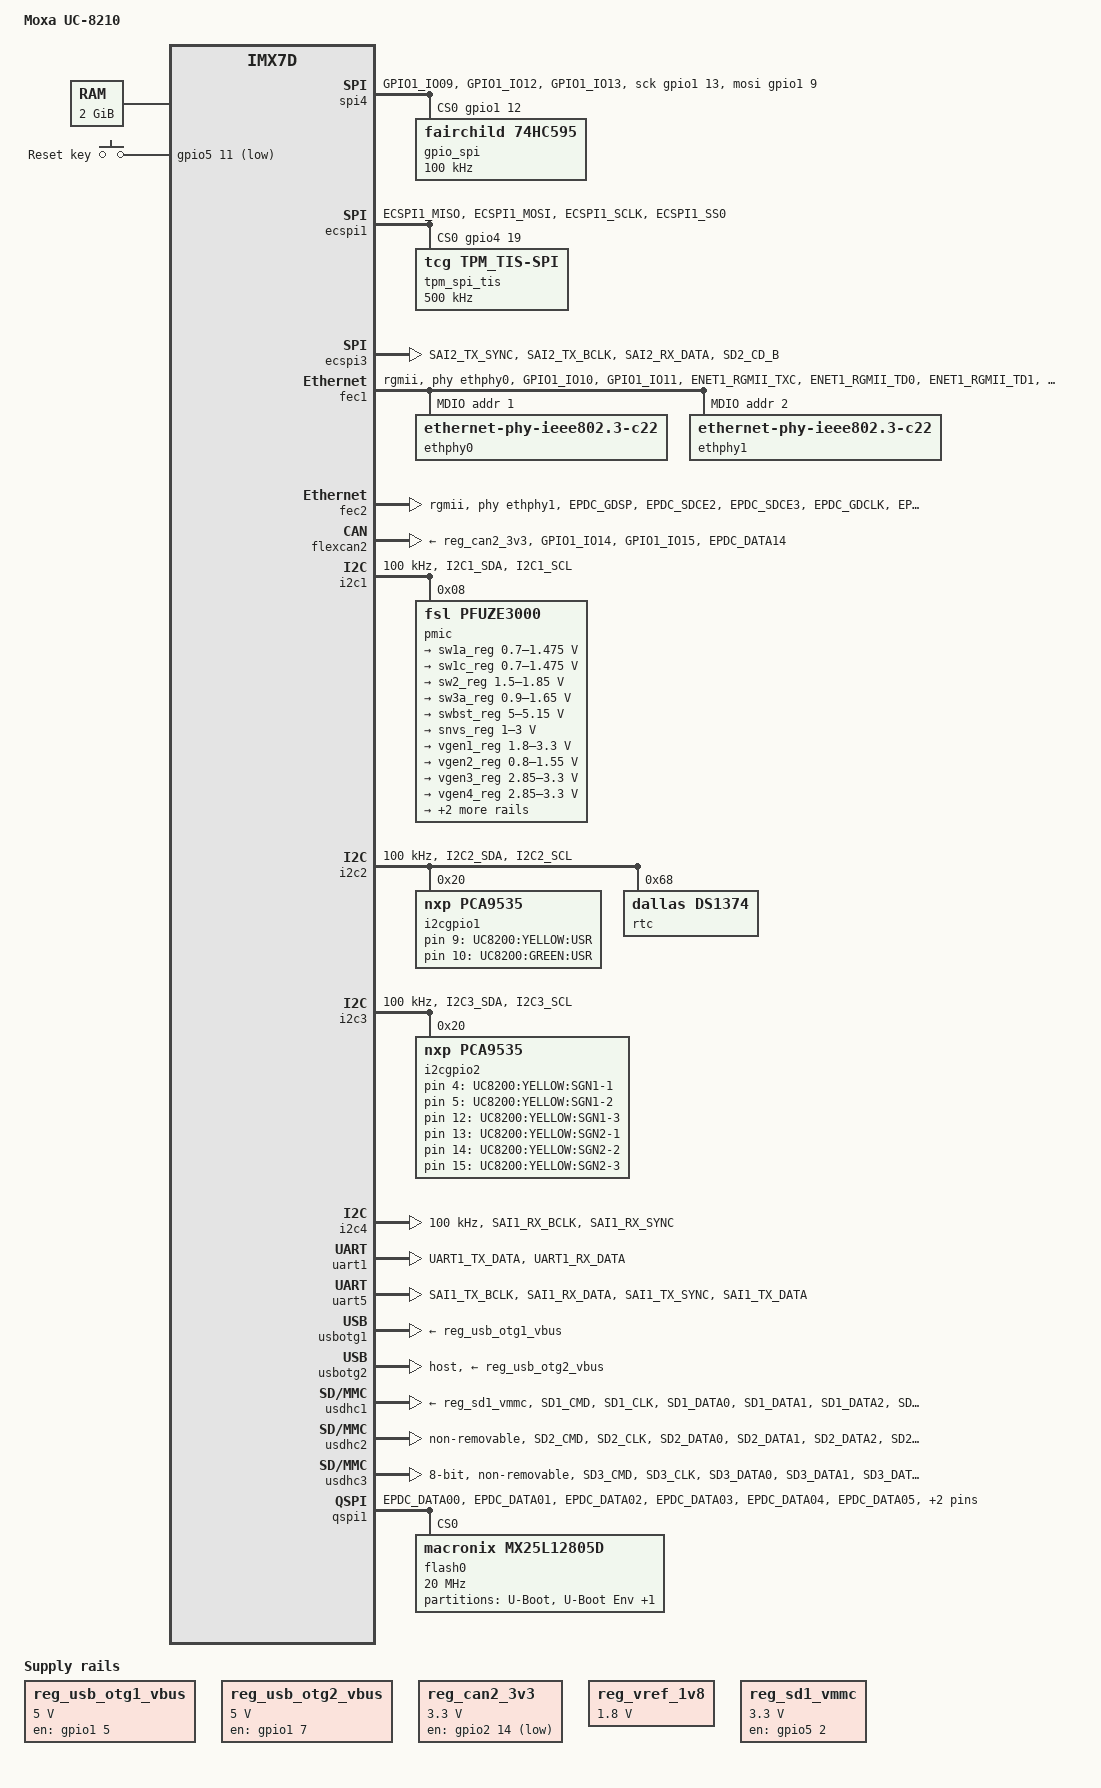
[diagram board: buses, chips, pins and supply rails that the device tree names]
// SPDX-License-Identifier: GPL-2.0
/*
 * Copyright (C) 2019 MOXA Inc. - https://www.moxa.com/
 *
 * Authors: Fero JD Zhou (周俊達) <FeroJD.Zhou@moxa.com>
 *	    Harry YJ Jhou (周亞諄) <HarryYJ.Jhou@moxa.com>
 */

/dts-v1/;
#include <dt-bindings/input/input.h>
#include "imx7d.dtsi"

/ {
	model = "Moxa UC-8210";
	compatible = "moxa,uc-8210", "fsl,imx7d-sdb", "fsl,imx7d";

	memory {
		reg = <0x80000000 0x80000000>;
	};

	regulators {
		compatible = "simple-bus";
		#address-cells = <1>;
		#size-cells = <0>;

		reg_usb_otg1_vbus: regulator@0 {
			compatible = "regulator-fixed";
			reg = <0>;
			regulator-name = "usb_otg1_vbus";
			regulator-min-microvolt = <5000000>;
			regulator-max-microvolt = <5000000>;
			gpio = <&gpio1 5 GPIO_ACTIVE_HIGH>;
			enable-active-high;
		};

		reg_usb_otg2_vbus: regulator@1 {
			compatible = "regulator-fixed";
			reg = <1>;
			regulator-name = "usb_otg2_vbus";
			regulator-min-microvolt = <5000000>;
			regulator-max-microvolt = <5000000>;
			gpio = <&gpio1 7 GPIO_ACTIVE_HIGH>;
			enable-active-high;
		};

		reg_can2_3v3: regulator@2 {
			compatible = "regulator-fixed";
			reg = <2>;
			regulator-name = "can2-3v3";
			regulator-min-microvolt = <3300000>;
			regulator-max-microvolt = <3300000>;
			gpio = <&gpio2 14 GPIO_ACTIVE_LOW>;
		};

		reg_vref_1v8: regulator@3 {
			compatible = "regulator-fixed";
			reg = <3>;
			regulator-name = "vref-1v8";
			regulator-min-microvolt = <1800000>;
			regulator-max-microvolt = <1800000>;
		};

		reg_sd1_vmmc: regulator@5 {
			compatible = "regulator-fixed";
			regulator-name = "VDD_SD1";
			regulator-min-microvolt = <3300000>;
			regulator-max-microvolt = <3300000>;
			gpio = <&gpio5 2 GPIO_ACTIVE_HIGH>;
			startup-delay-us = <200000>;
			off-on-delay = <20000>;
			enable-active-high;
		};
	};

	firmware {
		optee {
			compatible = "linaro,optee-tz";
			method = "smc";
		};
	};

	backlight {
		compatible = "pwm-backlight";
		pwms = <&pwm1 0 5000000>;
		brightness-levels = <0 4 8 16 32 64 128 255>;
		default-brightness-level = <6>;
		status = "disabled";
	};

	pxp_v4l2_out {
		compatible = "fsl,imx7d-pxp-v4l2", "fsl,imx6sx-pxp-v4l2", "fsl,imx6sl-pxp-v4l2";
		status = "disabled";
	};

	spi4 {
		compatible = "spi-gpio";
		pinctrl-names = "default";
		pinctrl-0 = <&pinctrl_spi1>;
		status = "okay";
		gpio-sck = <&gpio1 13 0>;
		gpio-mosi = <&gpio1 9 0>;
		cs-gpios = <&gpio1 12 0>;
		num-chipselects = <1>;
		#address-cells = <1>;
		#size-cells = <0>;

		gpio_spi: gpio_spi@0 {
			compatible = "fairchild,74hc595";
			gpio-controller;
			#gpio-cells = <2>;
			reg = <0>;
			registers-number = <1>;
			registers-default = /bits/ 8 <0x74>; /* Enable PERI_3V3, SENSOR_RST_B and HDMI_RST*/
			spi-max-frequency = <100000>;
		};
	};

	leds {
		compatible = "gpio-leds";
		signal_led_1_1 {
			label = "UC8200:YELLOW:SGN1-1";
			gpios = <&i2cgpio2 4 GPIO_ACTIVE_HIGH>;
			default-state = "off";
		};

		signal_led_1_2 {
			label = "UC8200:YELLOW:SGN1-2";
			gpios = <&i2cgpio2 5 GPIO_ACTIVE_HIGH>;
			default-state = "off";
		};

		signal_led_1_3 {
			label = "UC8200:YELLOW:SGN1-3";
			gpios = <&i2cgpio2 12 GPIO_ACTIVE_HIGH>;
			default-state = "off";
		};

		signal_led_2_1 {
			label = "UC8200:YELLOW:SGN2-1";
			gpios = <&i2cgpio2 13 GPIO_ACTIVE_HIGH>;
			default-state = "off";
		};

		signal_led_2_2 {
			label = "UC8200:YELLOW:SGN2-2";
			gpios = <&i2cgpio2 14 GPIO_ACTIVE_HIGH>;
			default-state = "off";
		};

		signal_led_2_3 {
			label = "UC8200:YELLOW:SGN2-3";
			gpios = <&i2cgpio2 15 GPIO_ACTIVE_HIGH>;
			default-state = "off";
		};

		user_led_1_1 {
			label = "UC8200:YELLOW:USR";
			gpios = <&i2cgpio1 9 GPIO_ACTIVE_HIGH>;
			default-state = "off";
		};
		user_led_1_2 {
			label = "UC8200:GREEN:USR";
			gpios = <&i2cgpio1 10 GPIO_ACTIVE_HIGH>;
			default-state = "off";
		};
	};

	buttons: push_button {
		compatible = "gpio-keys";

		push_button0 {
			label = "Reset key";
			gpios = <&gpio5 11 1>;
			linux,code = <0x100>;
			default-state = "on";
		};
	};
};

&cpu0 {
	arm-supply = <&sw1a_reg>;
};

&ecspi1 {
	fsl,spi-num-chipselects = <1>;
	pinctrl-names = "default";
	pinctrl-0 = <&pinctrl_ecspi1 &pinctrl_ecspi1_cs>;
	cs-gpios = <&gpio4 19 GPIO_ACTIVE_HIGH>;
	status = "okay";

	tpm_spi_tis@0{
		compatible = "tcg,tpm_tis-spi";
		reg = <0>;
		spi-max-frequency = <500000>;
	};
};

&ecspi3 {
	fsl,spi-num-chipselects = <1>;
	pinctrl-names = "default";
	pinctrl-0 = <&pinctrl_ecspi3 &pinctrl_ecspi3_cs>;
	cs-gpios = <&gpio5 9 GPIO_ACTIVE_HIGH>;
	status = "okay";
};

&clks {
	assigned-clocks = <&clks IMX7D_PLL_AUDIO_POST_DIV>;
	assigned-clock-rates = <884736000>;
};

&fec1 {
	pinctrl-names = "default";
	pinctrl-0 = <&pinctrl_enet1>;
	assigned-clocks = <&clks IMX7D_ENET1_TIME_ROOT_SRC>,
				<&clks IMX7D_ENET1_TIME_ROOT_CLK>;
	assigned-clock-parents = <&clks IMX7D_PLL_ENET_MAIN_100M_CLK>;
	assigned-clock-rates = <0>, <100000000>;
	phy-mode = "rgmii";
	phy-handle = <&ethphy0>;
	fsl,magic-packet;
	fsl,num-tx-queues=<1>;
	fsl,num-rx-queues=<1>;
	status = "okay";

	mdio {
		#address-cells = <1>;
		#size-cells = <0>;

		ethphy0: ethernet-phy@0 {
			compatible = "ethernet-phy-ieee802.3-c22";
			reg = <1>;
		};

		ethphy1: ethernet-phy@1 {
			compatible = "ethernet-phy-ieee802.3-c22";
			reg = <2>;
		};
	};
};

&fec2 {
	pinctrl-names = "default";
	pinctrl-0 = <&pinctrl_enet2>;
	assigned-clocks = <&clks IMX7D_ENET2_TIME_ROOT_SRC>,
				<&clks IMX7D_ENET2_TIME_ROOT_CLK>;
	assigned-clock-parents = <&clks IMX7D_PLL_ENET_MAIN_100M_CLK>;
	assigned-clock-rates = <0>, <100000000>;
	phy-mode = "rgmii";
	phy-handle = <&ethphy1>;
	fsl,magic-packet;
	fsl,num-tx-queues=<1>;
	fsl,num-rx-queues=<1>;
	status = "okay";
};

&flexcan2 {
	pinctrl-names = "default";
	pinctrl-0 = <&pinctrl_flexcan2>;
	xceiver-supply = <&reg_can2_3v3>;
	status = "okay";
};

&i2c1 {
	clock-frequency = <100000>;
	pinctrl-names = "default";
	pinctrl-0 = <&pinctrl_i2c1>;
	status = "okay";

	pmic: pfuze3000@08 {
		compatible = "fsl,pfuze3000";
		reg = <0x08>;

		regulators {
			sw1a_reg: sw1a {
				regulator-min-microvolt = <700000>;
				regulator-max-microvolt = <1475000>;
				regulator-boot-on;
				regulator-always-on;
				regulator-ramp-delay = <6250>;
			};

			/* use sw1c_reg to align with pfuze100/pfuze200 */
			sw1c_reg: sw1b {
				regulator-min-microvolt = <700000>;
				regulator-max-microvolt = <1475000>;
				regulator-boot-on;
				regulator-always-on;
				regulator-ramp-delay = <6250>;
			};

			sw2_reg: sw2 {
				regulator-min-microvolt = <1500000>;
				regulator-max-microvolt = <1850000>;
				regulator-boot-on;
				regulator-always-on;
			};

			sw3a_reg: sw3 {
				regulator-min-microvolt = <900000>;
				regulator-max-microvolt = <1650000>;
				regulator-boot-on;
				regulator-always-on;
			};

			swbst_reg: swbst {
				regulator-min-microvolt = <5000000>;
				regulator-max-microvolt = <5150000>;
			};

			snvs_reg: vsnvs {
				regulator-min-microvolt = <1000000>;
				regulator-max-microvolt = <3000000>;
				regulator-boot-on;
				regulator-always-on;
			};

			vref_reg: vrefddr {
				regulator-boot-on;
				regulator-always-on;
			};

			vgen1_reg: vldo1 {
				regulator-min-microvolt = <1800000>;
				regulator-max-microvolt = <3300000>;
				regulator-always-on;
			};

			vgen2_reg: vldo2 {
				regulator-min-microvolt = <800000>;
				regulator-max-microvolt = <1550000>;
			};

			vgen3_reg: vccsd {
				regulator-min-microvolt = <2850000>;
				regulator-max-microvolt = <3300000>;
				regulator-always-on;
			};

			vgen4_reg: v33 {
				regulator-min-microvolt = <2850000>;
				regulator-max-microvolt = <3300000>;
				regulator-always-on;
			};

			vgen5_reg: vldo3 {
				regulator-min-microvolt = <1800000>;
				regulator-max-microvolt = <3300000>;
				regulator-always-on;
			};

			vgen6_reg: vldo4 {
				regulator-min-microvolt = <1800000>;
				regulator-max-microvolt = <3300000>;
				regulator-always-on;
			};
		};
	};
};

&i2c2 {
	clock-frequency = <100000>;
	pinctrl-names = "default";
	pinctrl-0 = <&pinctrl_i2c2>;
	status = "okay";

	/* UART SIM RESET */
	i2cgpio1: gpio@20 {
		compatible = "nxp,pca9535";
		reg = <0x20>;
		gpio-controller;
		#gpio-cells = <2>;
	};

	rtc@68 {
		compatible = "dallas,ds1374";
		reg = <0x68>;
		status = "okay";
	};
};

&i2c3 {
	clock-frequency = <100000>;
	pinctrl-names = "default";
	pinctrl-0 = <&pinctrl_i2c3>;
	status = "okay";

	/* TPM LED DIO */
	i2cgpio2: gpio@20 {
		compatible = "nxp,pca9535";
		reg = <0x20>;
		gpio-controller;
		#gpio-cells = <2>;
	};
};

&i2c4 {
	clock-frequency = <100000>;
	pinctrl-names = "default";
	pinctrl-0 = <&pinctrl_i2c4>;
	status = "okay";
};

&pcie {
	pinctrl-names = "default";
};

&uart1 {
	pinctrl-names = "default";
	pinctrl-0 = <&pinctrl_uart1>;
	assigned-clocks = <&clks IMX7D_UART1_ROOT_SRC>;
	assigned-clock-parents = <&clks IMX7D_OSC_24M_CLK>;
	status = "okay";
};

&uart5 {
	pinctrl-names = "default";
	pinctrl-0 = <&pinctrl_uart5>;
	assigned-clocks = <&clks IMX7D_UART5_ROOT_SRC>;
	assigned-clock-parents = <&clks IMX7D_PLL_SYS_MAIN_240M_CLK>;
	/* for DTE mode, add below change */
	/* fsl,dte-mode; */
	/* pinctrl-0 = <&pinctrl_uart5dte>; */
	status = "okay";
};

&usbotg1 {
	vbus-supply = <&reg_usb_otg1_vbus>;
	srp-disable;
	hnp-disable;
	adp-disable;
	status = "okay";
};

&usbotg2 {
	vbus-supply = <&reg_usb_otg2_vbus>;
	dr_mode = "host";
	status = "okay";
};

&usdhc1 {
	pinctrl-names = "default", "state_100mhz", "state_200mhz";
	pinctrl-0 = <&pinctrl_usdhc1>, <&pinctrl_usdhc1_gpio>;
	pinctrl-1 = <&pinctrl_usdhc1_100mhz>, <&pinctrl_usdhc1_gpio>;
	pinctrl-2 = <&pinctrl_usdhc1_200mhz>, <&pinctrl_usdhc1_gpio>;
	cd-gpios = <&gpio5 0 GPIO_ACTIVE_LOW>;
	wp-gpios = <&gpio5 1 GPIO_ACTIVE_HIGH>;
	wakeup-source;
	vmmc-supply = <&reg_sd1_vmmc>;
	enable-sdio-wakeup;
	keep-power-in-suspend;
	status = "okay";
};

&usdhc2 {
	pinctrl-names = "default", "state_100mhz", "state_200mhz";
	pinctrl-0 = <&pinctrl_usdhc2>;
	pinctrl-1 = <&pinctrl_usdhc2_100mhz>;
	pinctrl-2 = <&pinctrl_usdhc2_200mhz>;
	enable-sdio-wakeup;
	keep-power-in-suspend;
	non-removable;
	cd-post;
	pm-ignore-notify;
	wifi-host;
	status = "okay";
};

&usdhc3 {
	pinctrl-names = "default", "state_100mhz", "state_200mhz";
	pinctrl-0 = <&pinctrl_usdhc3>;
	pinctrl-1 = <&pinctrl_usdhc3_100mhz>;
	pinctrl-2 = <&pinctrl_usdhc3_200mhz>;
	assigned-clocks = <&clks IMX7D_USDHC3_ROOT_CLK>;
	assigned-clock-rates = <400000000>;
	bus-width = <8>;
	fsl,tuning-step = <2>;
	non-removable;
	status = "okay";
};

&wdog1 {
	status = "disabled";
	pinctrl-names = "default";
	pinctrl-0 = <&pinctrl_wdog>;
	fsl,ext-reset-output;
};

&qspi1 {
	pinctrl-names = "default";
	pinctrl-0 = <&pinctrl_qspi1_1>;
	status = "okay";
	ddrsmp=<0>;

	flash0: mx25l12805d@0 {
		compatible = "macronix,mx25l12805d";
		spi-max-frequency = <20000000>;
		reg = <0>;
		partitions {
			compatible = "fixed-partitions";
			#address-cells = <1>;
			#size-cells = <1>;

			partitions@0 {
				label = "U-Boot";
				reg = <0x0 0x180000>;
			};
			partitions@1 {
				label = "U-Boot Env";
				reg = <0x180000 0x20000>;
			};
			partitions@2 {
				label = "U-Boot Env Redund";
				reg = <0x1A0000 0x20000>;
			};
		};
	};
};

&iomuxc {
	pinctrl-names = "default";
	pinctrl-0 = <&pinctrl_hog>;

	imx7d-sdb {

		pinctrl_ecspi1_cs: ecspi1_cs_grp {
			fsl,pins = <
				MX7D_PAD_ECSPI1_SS0__GPIO4_IO19		0x2
			>;
		};

		pinctrl_ecspi1: ecspi1grp {
			fsl,pins = <
				MX7D_PAD_ECSPI1_MISO__ECSPI1_MISO	0x2
				MX7D_PAD_ECSPI1_MOSI__ECSPI1_MOSI	0x2
				MX7D_PAD_ECSPI1_SCLK__ECSPI1_SCLK	0x2
				MX7D_PAD_ECSPI1_SS0__GPIO4_IO19		0x2
			>;
		};

		pinctrl_ecspi3: ecspi3grp {
			fsl,pins = <
				MX7D_PAD_SAI2_TX_SYNC__ECSPI3_MISO  0x2
				MX7D_PAD_SAI2_TX_BCLK__ECSPI3_MOSI  0x2
				MX7D_PAD_SAI2_RX_DATA__ECSPI3_SCLK  0x2
			>;
		};

		pinctrl_ecspi3_cs: ecspi3_cs_grp {
			fsl,pins = <
				MX7D_PAD_SD2_CD_B__GPIO5_IO9    0x80000000
			>;
		};

		pinctrl_enet1: enet1grp {
			fsl,pins = <
				MX7D_PAD_GPIO1_IO10__ENET1_MDIO			0x3
				MX7D_PAD_GPIO1_IO11__ENET1_MDC			0x3
				MX7D_PAD_ENET1_RGMII_TXC__ENET1_RGMII_TXC	0x1
				MX7D_PAD_ENET1_RGMII_TD0__ENET1_RGMII_TD0	0x1
				MX7D_PAD_ENET1_RGMII_TD1__ENET1_RGMII_TD1	0x1
				MX7D_PAD_ENET1_RGMII_TD2__ENET1_RGMII_TD2	0x1
				MX7D_PAD_ENET1_RGMII_TD3__ENET1_RGMII_TD3	0x1
				MX7D_PAD_ENET1_RGMII_TX_CTL__ENET1_RGMII_TX_CTL	0x1
				MX7D_PAD_ENET1_RGMII_RXC__ENET1_RGMII_RXC	0x1
				MX7D_PAD_ENET1_RGMII_RD0__ENET1_RGMII_RD0	0x1
				MX7D_PAD_ENET1_RGMII_RD1__ENET1_RGMII_RD1	0x1
				MX7D_PAD_ENET1_RGMII_RD2__ENET1_RGMII_RD2	0x1
				MX7D_PAD_ENET1_RGMII_RD3__ENET1_RGMII_RD3	0x1
				MX7D_PAD_ENET1_RGMII_RX_CTL__ENET1_RGMII_RX_CTL	0x1
			>;
		};

		pinctrl_enet2: enet2grp {
			fsl,pins = <
				MX7D_PAD_EPDC_GDSP__ENET2_RGMII_TXC		0x1
				MX7D_PAD_EPDC_SDCE2__ENET2_RGMII_TD0		0x1
				MX7D_PAD_EPDC_SDCE3__ENET2_RGMII_TD1		0x1
				MX7D_PAD_EPDC_GDCLK__ENET2_RGMII_TD2		0x1
				MX7D_PAD_EPDC_GDOE__ENET2_RGMII_TD3		0x1
				MX7D_PAD_EPDC_GDRL__ENET2_RGMII_TX_CTL		0x1
				MX7D_PAD_EPDC_SDCE1__ENET2_RGMII_RXC		0x1
				MX7D_PAD_EPDC_SDCLK__ENET2_RGMII_RD0		0x1
				MX7D_PAD_EPDC_SDLE__ENET2_RGMII_RD1		0x1
				MX7D_PAD_EPDC_SDOE__ENET2_RGMII_RD2		0x1
				MX7D_PAD_EPDC_SDSHR__ENET2_RGMII_RD3		0x1
				MX7D_PAD_EPDC_SDCE0__ENET2_RGMII_RX_CTL		0x1
			>;
		};

		pinctrl_hog: hoggrp {
			fsl,pins = <
				MX7D_PAD_UART3_CTS_B__GPIO4_IO7		0x15	/*LTE_PWR_EN*/
				MX7D_PAD_ECSPI2_SS0__GPIO4_IO23		0x34	/* bt reg on */
				MX7D_PAD_ECSPI2_SCLK__GPIO4_IO20	0x59	/* WL_REG_ON */
			>;
		};

		pinctrl_flexcan2: flexcan2grp {
			fsl,pins = <
				MX7D_PAD_GPIO1_IO14__FLEXCAN2_RX    0x59
				MX7D_PAD_GPIO1_IO15__FLEXCAN2_TX    0x59
				MX7D_PAD_EPDC_DATA14__GPIO2_IO14    0x59    /* CAN_STBY */
			>;
		};

		pinctrl_i2c1: i2c1grp {
			fsl,pins = <
				MX7D_PAD_I2C1_SDA__I2C1_SDA		0x4000007f
				MX7D_PAD_I2C1_SCL__I2C1_SCL		0x4000007f
			>;
		};

		pinctrl_i2c2: i2c2grp {
			fsl,pins = <
				MX7D_PAD_I2C2_SDA__I2C2_SDA		0x4000007f
				MX7D_PAD_I2C2_SCL__I2C2_SCL		0x4000007f
			>;
		};

		pinctrl_i2c3: i2c3grp {
			fsl,pins = <
				MX7D_PAD_I2C3_SDA__I2C3_SDA		0x4000007f
				MX7D_PAD_I2C3_SCL__I2C3_SCL		0x4000007f
			>;
		};

		pinctrl_i2c4: i2c4grp {
			fsl,pins = <
				MX7D_PAD_SAI1_RX_BCLK__I2C4_SDA		0x4000007f
				MX7D_PAD_SAI1_RX_SYNC__I2C4_SCL		0x4000007f
			>;
		};

		pinctrl_spi1: spi1grp {
			fsl,pins = <
				MX7D_PAD_GPIO1_IO09__GPIO1_IO9  0x59
				MX7D_PAD_GPIO1_IO12__GPIO1_IO12 0x59
				MX7D_PAD_GPIO1_IO13__GPIO1_IO13 0x59
			>;
		};

		pinctrl_uart1: uart1grp {
			fsl,pins = <
				MX7D_PAD_UART1_TX_DATA__UART1_DCE_TX	0x79
				MX7D_PAD_UART1_RX_DATA__UART1_DCE_RX	0x79
			>;
		};

		pinctrl_uart5: uart5grp {
			fsl,pins = <
				MX7D_PAD_SAI1_TX_BCLK__UART5_DCE_TX	0x79
				MX7D_PAD_SAI1_RX_DATA__UART5_DCE_RX	0x79
				MX7D_PAD_SAI1_TX_SYNC__UART5_DCE_CTS	0x79
				MX7D_PAD_SAI1_TX_DATA__UART5_DCE_RTS	0x79
			>;
		};

		pinctrl_uart6: uart6grp {
			fsl,pins = <
				MX7D_PAD_ECSPI1_MOSI__UART6_DCE_TX	0x79
				MX7D_PAD_ECSPI1_SCLK__UART6_DCE_RX	0x79
				MX7D_PAD_ECSPI1_SS0__UART6_DCE_CTS	0x79
				MX7D_PAD_ECSPI1_MISO__UART6_DCE_RTS	0x79
			>;
		};

		pinctrl_usdhc1: usdhc1grp {
			fsl,pins = <
				MX7D_PAD_SD1_CMD__SD1_CMD		0x59
				MX7D_PAD_SD1_CLK__SD1_CLK		0x19
				MX7D_PAD_SD1_DATA0__SD1_DATA0		0x59
				MX7D_PAD_SD1_DATA1__SD1_DATA1		0x59
				MX7D_PAD_SD1_DATA2__SD1_DATA2		0x59
				MX7D_PAD_SD1_DATA3__SD1_DATA3		0x59
			>;
		};

		pinctrl_usdhc1_100mhz: usdhc1grp_100mhz {
			fsl,pins = <
				MX7D_PAD_SD1_CMD__SD1_CMD		0x5a
				MX7D_PAD_SD1_CLK__SD1_CLK		0x1a
				MX7D_PAD_SD1_DATA0__SD1_DATA0		0x5a
				MX7D_PAD_SD1_DATA1__SD1_DATA1		0x5a
				MX7D_PAD_SD1_DATA2__SD1_DATA2		0x5a
				MX7D_PAD_SD1_DATA3__SD1_DATA3		0x5a
			>;
		};

		pinctrl_usdhc1_200mhz: usdhc1grp_200mhz {
			fsl,pins = <
				MX7D_PAD_SD1_CMD__SD1_CMD		0x5b
				MX7D_PAD_SD1_CLK__SD1_CLK		0x1b
				MX7D_PAD_SD1_DATA0__SD1_DATA0		0x5b
				MX7D_PAD_SD1_DATA1__SD1_DATA1		0x5b
				MX7D_PAD_SD1_DATA2__SD1_DATA2		0x5b
				MX7D_PAD_SD1_DATA3__SD1_DATA3		0x5b
			>;
		};

		pinctrl_usdhc1_gpio: usdhc1_gpiogrp {
			fsl,pins = <
				MX7D_PAD_SD1_CD_B__GPIO5_IO0		0x59 /* CD */
				MX7D_PAD_SD1_WP__GPIO5_IO1		0x59 /* WP */
				MX7D_PAD_SD1_RESET_B__GPIO5_IO2		0x59 /* vmmc */
				MX7D_PAD_GPIO1_IO08__SD1_VSELECT	0x59 /* VSELECT */
			>;
		};

		pinctrl_usdhc2: usdhc2grp {
			fsl,pins = <
				MX7D_PAD_SD2_CMD__SD2_CMD		0x59
				MX7D_PAD_SD2_CLK__SD2_CLK		0x19
				MX7D_PAD_SD2_DATA0__SD2_DATA0		0x59
				MX7D_PAD_SD2_DATA1__SD2_DATA1		0x59
				MX7D_PAD_SD2_DATA2__SD2_DATA2		0x59
				MX7D_PAD_SD2_DATA3__SD2_DATA3		0x59
			>;
		};

		pinctrl_usdhc2_100mhz: usdhc2grp_100mhz {
			fsl,pins = <
				MX7D_PAD_SD2_CMD__SD2_CMD		0x5a
				MX7D_PAD_SD2_CLK__SD2_CLK		0x1a
				MX7D_PAD_SD2_DATA0__SD2_DATA0		0x5a
				MX7D_PAD_SD2_DATA1__SD2_DATA1		0x5a
				MX7D_PAD_SD2_DATA2__SD2_DATA2		0x5a
				MX7D_PAD_SD2_DATA3__SD2_DATA3		0x5a
			>;
		};

		pinctrl_usdhc2_200mhz: usdhc2grp_200mhz {
			fsl,pins = <
				MX7D_PAD_SD2_CMD__SD2_CMD		0x5b
				MX7D_PAD_SD2_CLK__SD2_CLK		0x1b
				MX7D_PAD_SD2_DATA0__SD2_DATA0		0x5b
				MX7D_PAD_SD2_DATA1__SD2_DATA1		0x5b
				MX7D_PAD_SD2_DATA2__SD2_DATA2		0x5b
				MX7D_PAD_SD2_DATA3__SD2_DATA3		0x5b
			>;
		};


		pinctrl_usdhc3: usdhc3grp {
			fsl,pins = <
				MX7D_PAD_SD3_CMD__SD3_CMD		0x59
				MX7D_PAD_SD3_CLK__SD3_CLK		0x19
				MX7D_PAD_SD3_DATA0__SD3_DATA0		0x59
				MX7D_PAD_SD3_DATA1__SD3_DATA1		0x59
				MX7D_PAD_SD3_DATA2__SD3_DATA2		0x59
				MX7D_PAD_SD3_DATA3__SD3_DATA3		0x59
				MX7D_PAD_SD3_DATA4__SD3_DATA4		0x59
				MX7D_PAD_SD3_DATA5__SD3_DATA5		0x59
				MX7D_PAD_SD3_DATA6__SD3_DATA6		0x59
				MX7D_PAD_SD3_DATA7__SD3_DATA7		0x59
				MX7D_PAD_SD3_STROBE__SD3_STROBE		0x19
			>;
		};

		pinctrl_usdhc3_100mhz: usdhc3grp_100mhz {
			fsl,pins = <
				MX7D_PAD_SD3_CMD__SD3_CMD		0x5a
				MX7D_PAD_SD3_CLK__SD3_CLK		0x1a
				MX7D_PAD_SD3_DATA0__SD3_DATA0		0x5a
				MX7D_PAD_SD3_DATA1__SD3_DATA1		0x5a
				MX7D_PAD_SD3_DATA2__SD3_DATA2		0x5a
				MX7D_PAD_SD3_DATA3__SD3_DATA3		0x5a
				MX7D_PAD_SD3_DATA4__SD3_DATA4		0x5a
				MX7D_PAD_SD3_DATA5__SD3_DATA5		0x5a
				MX7D_PAD_SD3_DATA6__SD3_DATA6		0x5a
				MX7D_PAD_SD3_DATA7__SD3_DATA7		0x5a
				MX7D_PAD_SD3_STROBE__SD3_STROBE		0x1a
			>;
		};

		pinctrl_usdhc3_200mhz: usdhc3grp_200mhz {
			fsl,pins = <
				MX7D_PAD_SD3_CMD__SD3_CMD		0x5b
				MX7D_PAD_SD3_CLK__SD3_CLK		0x1b
				MX7D_PAD_SD3_DATA0__SD3_DATA0		0x5b
				MX7D_PAD_SD3_DATA1__SD3_DATA1		0x5b
				MX7D_PAD_SD3_DATA2__SD3_DATA2		0x5b
				MX7D_PAD_SD3_DATA3__SD3_DATA3		0x5b
				MX7D_PAD_SD3_DATA4__SD3_DATA4		0x5b
				MX7D_PAD_SD3_DATA5__SD3_DATA5		0x5b
				MX7D_PAD_SD3_DATA6__SD3_DATA6		0x5b
				MX7D_PAD_SD3_DATA7__SD3_DATA7		0x5b
				MX7D_PAD_SD3_STROBE__SD3_STROBE		0x1b
			>;
		};
	};

	qspi1 {
		pinctrl_qspi1_1: qspi1grp_1 {
			fsl,pins = <
				MX7D_PAD_EPDC_DATA00__QSPI_A_DATA0 0x51
				MX7D_PAD_EPDC_DATA01__QSPI_A_DATA1 0x51
				MX7D_PAD_EPDC_DATA02__QSPI_A_DATA2 0x51
				MX7D_PAD_EPDC_DATA03__QSPI_A_DATA3 0x51
				MX7D_PAD_EPDC_DATA04__QSPI_A_DQS 0x51
				MX7D_PAD_EPDC_DATA05__QSPI_A_SCLK 0x51
				MX7D_PAD_EPDC_DATA06__QSPI_A_SS0_B 0x51
				MX7D_PAD_EPDC_DATA07__QSPI_A_SS1_B 0x51
			>;
		};
	};
};

&iomuxc_lpsr {
	pinctrl_wdog: wdoggrp {
		fsl,pins = <
			MX7D_PAD_GPIO1_IO00__WDOD1_WDOG_B		0x74
		>;
	};

	pinctrl_backlight: backlightgrp {
		fsl,pins = <
			MX7D_PAD_GPIO1_IO01__GPIO1_IO1		0x110b0
		>;
	};
};
